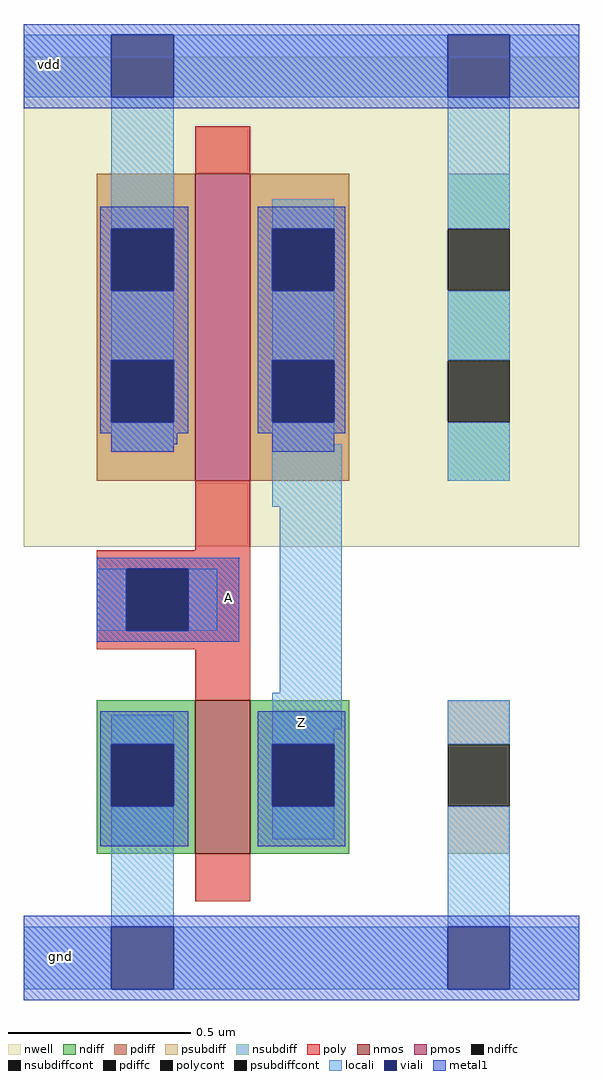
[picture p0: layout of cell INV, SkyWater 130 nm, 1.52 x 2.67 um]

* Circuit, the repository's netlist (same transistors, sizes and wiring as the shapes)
*INV netlist

.subckt INV A Z vdd gnd
X0 Z A vdd vdd sky130_fd_pr__pfet_01v8 w=0.84u l=0.15u
X1 Z A gnd gnd sky130_fd_pr__nfet_01v8 w=0.42u l=0.15u
.ends

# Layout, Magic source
magic
tech sky130A
<< nwell >>
rect 0 124 152 258
<< nmos >>
rect 47 40 62 82
<< pmos >>
rect 47 142 62 226
<< ndiff >>
rect 20 70 47 82
rect 20 53 24 70
rect 41 53 47 70
rect 20 40 47 53
rect 62 70 89 82
rect 62 53 68 70
rect 85 53 89 70
rect 62 40 89 53
<< pdiff >>
rect 20 211 47 226
rect 20 194 24 211
rect 41 194 47 211
rect 20 175 47 194
rect 20 158 24 175
rect 41 158 47 175
rect 20 142 47 158
rect 62 211 89 226
rect 62 194 68 211
rect 85 194 89 211
rect 62 175 89 194
rect 62 158 68 175
rect 85 158 89 175
rect 62 142 89 158
<< ndiffc >>
rect 24 53 41 70
rect 68 53 85 70
<< pdiffc >>
rect 24 194 41 211
rect 24 158 41 175
rect 68 194 85 211
rect 68 158 85 175
<< psubdiff >>
rect 116 70 133 82
rect 116 40 133 53
<< nsubdiff >>
rect 116 211 133 226
rect 116 175 133 194
rect 116 142 133 158
<< psubdiffcont >>
rect 116 53 133 70
<< nsubdiffcont >>
rect 116 194 133 211
rect 116 158 133 175
<< poly >>
rect 47 226 62 239
rect 47 123 62 142
rect 20 118 62 123
rect 20 101 28 118
rect 45 101 62 118
rect 20 96 62 101
rect 47 82 62 96
rect 47 27 62 40
<< polycont >>
rect 28 101 45 118
<< locali >>
rect 0 247 24 264
rect 41 247 116 264
rect 133 247 152 264
rect 24 211 41 247
rect 24 175 41 194
rect 24 150 41 158
rect 68 211 85 219
rect 68 175 85 194
rect 68 152 85 158
rect 116 211 133 247
rect 116 175 133 194
rect 68 135 87 152
rect 116 142 133 158
rect 20 101 28 118
rect 45 101 53 118
rect 70 84 87 135
rect 24 70 41 78
rect 24 20 41 53
rect 68 74 87 84
rect 68 70 85 74
rect 68 44 85 53
rect 116 70 133 82
rect 116 20 133 53
rect 0 3 24 20
rect 41 3 116 20
rect 133 3 152 20
<< viali >>
rect 24 247 41 264
rect 116 247 133 264
rect 24 194 41 211
rect 24 158 41 175
rect 68 194 85 211
rect 68 158 85 175
rect 28 101 45 118
rect 24 53 41 70
rect 68 53 85 70
rect 24 3 41 20
rect 116 3 133 20
<< metal1 >>
rect 0 264 152 267
rect 0 247 24 264
rect 41 247 116 264
rect 133 247 152 264
rect 0 244 152 247
rect 21 211 45 217
rect 21 194 24 211
rect 41 194 45 211
rect 21 175 45 194
rect 21 158 24 175
rect 41 158 45 175
rect 21 155 45 158
rect 64 211 88 217
rect 64 194 68 211
rect 85 194 88 211
rect 64 175 88 194
rect 64 158 68 175
rect 85 158 88 175
rect 64 155 88 158
rect 24 152 42 155
rect 24 150 41 152
rect 68 150 85 155
rect 20 118 59 121
rect 20 101 28 118
rect 45 101 59 118
rect 20 98 59 101
rect 21 70 45 79
rect 21 53 24 70
rect 41 53 45 70
rect 21 42 45 53
rect 64 70 88 79
rect 64 53 68 70
rect 85 53 88 70
rect 64 42 88 53
rect 0 20 152 23
rect 0 3 24 20
rect 41 3 116 20
rect 133 3 152 20
rect 0 0 152 3
<< labels >>
rlabel metal1 7 256 7 256 1 vdd
port 3 n
rlabel metal1 10 12 10 12 1 gnd
port 4 n
rlabel metal1 56 110 56 110 1 A
port 1 n
rlabel metal1 76 76 76 76 1 Z
port 2 n
<< end >>
